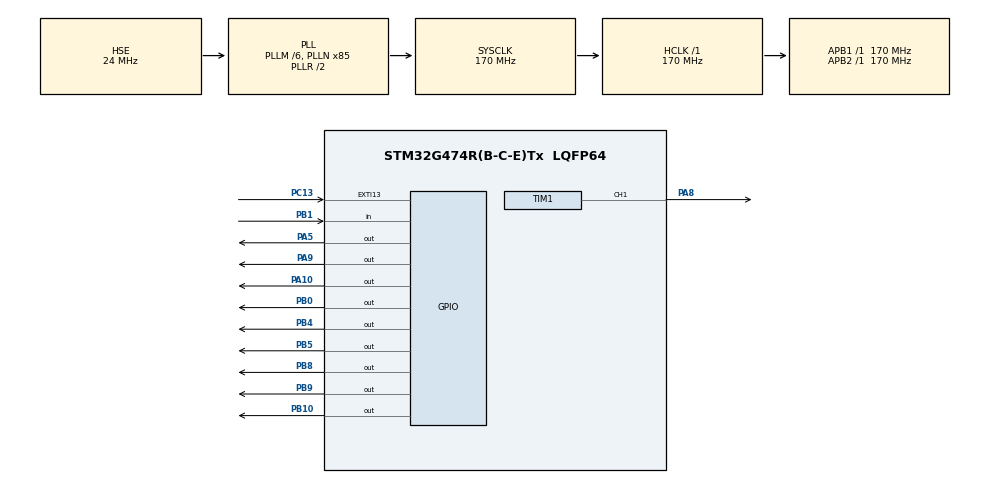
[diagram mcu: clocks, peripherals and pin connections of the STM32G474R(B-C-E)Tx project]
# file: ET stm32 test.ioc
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Mcu.Family=STM32G4
Mcu.Name=STM32G474R(B-C-E)Tx
Mcu.Package=LQFP64
NUCLEO-G474RE.BUTTON=1
NUCLEO-G474RE.LD2=true
NUCLEO-G474RE.VCP=true
NVIC.EXTI15_10_IRQn=true\:0\:0\:false\:false\:true\:true\:true\:true
NVIC.PriorityGroup=NVIC_PRIORITYGROUP_4
PA10.GPIO_ModeDefaultOutputPP=GPIO_MODE_OUTPUT_PP
PA10.GPIO_PuPd=GPIO_NOPULL
PA10.Signal=GPIO_Output
PA13.GPIO_Label=T_SWDIO
PA13.Signal=SYS_JTMS-SWDIO
PA14.GPIO_Label=T_SWCLK
PA14.Signal=SYS_JTCK-SWCLK
PA2.Signal=LPUART1_TX
PA3.Signal=LPUART1_RX
PA5.Signal=GPIO_Output
PA8.Signal=S_TIM1_CH1
PA9.Signal=GPIO_Output
PB0.Signal=GPIO_Output
PB1.Signal=GPIO_Input
PB10.Signal=GPIO_Output
PB3.GPIO_Label=T_SWO
PB3.Signal=SYS_JTDO-SWO
PB4.GPIO_ModeDefaultOutputPP=GPIO_MODE_OUTPUT_PP
PB4.Signal=GPIO_Output
PB5.Signal=GPIO_Output
PB8-BOOT0.Signal=GPIO_Output
PB9.Signal=GPIO_Output
PC13.Signal=GPXTI13
PC14-OSC32_IN.GPIO_Label=RCC_OSC32_IN
PC14-OSC32_IN.Signal=RCC_OSC32_IN
PC15-OSC32_OUT.GPIO_Label=RCC_OSC32_OUT
PC15-OSC32_OUT.Signal=RCC_OSC32_OUT
PF0-OSC_IN.GPIO_Label=RCC_OSC_IN
PF0-OSC_IN.Mode=HSE-External-Oscillator
PF0-OSC_IN.Signal=RCC_OSC_IN
PF1-OSC_OUT.GPIO_Label=RCC_OSC_OUT
PF1-OSC_OUT.Mode=HSE-External-Oscillator
PF1-OSC_OUT.Signal=RCC_OSC_OUT
ProjectManager.HeapSize=0x200
ProjectManager.StackSize=0x400
ProjectManager.TargetToolchain=STM32CubeIDE
RCC.ADC12Freq_Value=170000000
RCC.ADC345Freq_Value=170000000
RCC.AHBFreq_Value=170000000
RCC.APB1Freq_Value=170000000
RCC.APB1TimFreq_Value=170000000
RCC.APB2Freq_Value=170000000
RCC.APB2TimFreq_Value=170000000
RCC.CortexFreq_Value=170000000
RCC.EXTERNAL_CLOCK_VALUE=12288000
RCC.HCLKFreq_Value=170000000
RCC.HSE_VALUE=24000000
RCC.HSI48_VALUE=48000000
RCC.HSI_VALUE=16000000
RCC.LSE_VALUE=32768
RCC.PLLM=RCC_PLLM_DIV6
RCC.PLLN=85
RCC.PLLSourceVirtual=RCC_PLLSOURCE_HSE
RCC.RTCClockSelection=RCC_RTCCLKSOURCE_LSE
RCC.SYSCLKFreq_VALUE=170000000
RCC.SYSCLKSource=RCC_SYSCLKSOURCE_PLLCLK
RCC.USBFreq_Value=170000000
RCC.VCOOutputFreq_Value=340000000
SH.S_TIM1_CH1.0=TIM1_CH1,PWM Generation1 CH1
TIM1.AutoReloadPreload=TIM_AUTORELOAD_PRELOAD_ENABLE
TIM1.Channel-PWM\ Generation1\ CH1=TIM_CHANNEL_1
TIM1.PeriodNoDither=100
TIM1.Prescaler=2
TIM1.PulseNoDither_1=50
VP_NUCLEO-G474RE_VS_BSP_COMMON.Mode=COMMON
VP_SYS_VS_DBSignals.Mode=DisableDeadBatterySignals
VP_TIM1_VS_ClockSourceINT.Mode=Internal
board=NUCLEO-G474RE

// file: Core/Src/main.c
/* USER CODE BEGIN Header */
/**
  ******************************************************************************
  * @file           : main.c
  * @brief          : Main program body
  ******************************************************************************
  * @attention
  *
  * Copyright (c) 2025 STMicroelectronics.
  * All rights reserved.
  *
  * This software is licensed under terms that can be found in the LICENSE file
  * in the root directory of this software component.
  * If no LICENSE file comes with this software, it is provided AS-IS.
  *
  ******************************************************************************
  */
/* USER CODE END Header */
#include "main.h"

COM_InitTypeDef BspCOMInit;
TIM_HandleTypeDef htim1;

void SystemClock_Config(void);
static void MX_GPIO_Init(void);
static void MX_TIM1_Init(void);

/* USER CODE BEGIN 0 */
/**
  * @brief  Configure CAN filter
  * @param  None
  * @retval None
  */

#define SIG_GPIO_Port	GPIOB
#define SIG_Pin			GPIO_PIN_1
#define MUX0_GPIO_Port	GPIOB
#define MUX0_Pin		GPIO_PIN_10
#define MUX1_GPIO_Port	GPIOB
#define MUX1_Pin		GPIO_PIN_4
#define MUX2_GPIO_Port	GPIOA
#define MUX2_Pin		GPIO_PIN_4
#define MUX3_GPIO_Port	GPIOA
#define MUX3_Pin		GPIO_PIN_10
#define DRST_GPIO_Port	GPIOB
#define DRST_Pin		GPIO_PIN_0

void SetMuxChannel(uint8_t channel) {
  HAL_GPIO_WritePin(MUX0_GPIO_Port, MUX0_Pin, (channel & 0x01) ? GPIO_PIN_SET : GPIO_PIN_RESET);
  HAL_GPIO_WritePin(MUX1_GPIO_Port, MUX1_Pin, (channel & 0x02) ? GPIO_PIN_SET : GPIO_PIN_RESET);
  HAL_GPIO_WritePin(MUX2_GPIO_Port, MUX2_Pin, (channel & 0x04) ? GPIO_PIN_SET : GPIO_PIN_RESET);
  HAL_GPIO_WritePin(MUX3_GPIO_Port, MUX3_Pin, (channel & 0x08) ? GPIO_PIN_SET : GPIO_PIN_RESET);
}
/* USER CODE END 0 */

int main(void)
{

  /* MCU Configuration--------------------------------------------------------*/

  /* Reset of all peripherals, Initializes the Flash interface and the Systick. */
  HAL_Init();

  /* Configure the system clock */
  SystemClock_Config();

  /* Initialize all configured peripherals */
  MX_GPIO_Init();
  MX_TIM1_Init();
  /* USER CODE BEGIN 2 */
  HAL_TIM_PWM_Start(&htim1, TIM_CHANNEL_1);
  HAL_GPIO_WritePin(DRST_GPIO_Port, DRST_Pin, GPIO_PIN_RESET);
  /* USER CODE END 2 */

  /* Initialize led */
  BSP_LED_Init(LED_GREEN);

  /* Initialize USER push-button, will be used to trigger an interrupt each time it's pressed.*/
  BSP_PB_Init(BUTTON_USER, BUTTON_MODE_EXTI);

  /* Initialize COM1 port (115200, 8 bits (7-bit data + 1 stop bit), no parity */
  BspCOMInit.BaudRate   = 115200;
  BspCOMInit.WordLength = COM_WORDLENGTH_8B;
  BspCOMInit.StopBits   = COM_STOPBITS_1;
  BspCOMInit.Parity     = COM_PARITY_NONE;
  BspCOMInit.HwFlowCtl  = COM_HWCONTROL_NONE;
  if (BSP_COM_Init(COM1, &BspCOMInit) != BSP_ERROR_NONE)
  {
    Error_Handler();
  }

  /* Infinite loop */
  while (1)
  {

    /* USER CODE BEGIN 3 */
	SetMuxChannel(6);

	GPIO_PinState data = HAL_GPIO_ReadPin(SIG_GPIO_Port, SIG_Pin);

	if (data == GPIO_PIN_SET){

		HAL_GPIO_WritePin(GPIOA, GPIO_PIN_9, GPIO_PIN_SET);
		HAL_GPIO_WritePin(GPIOB, GPIO_PIN_9, GPIO_PIN_SET);
		HAL_GPIO_WritePin(GPIOB, GPIO_PIN_8, GPIO_PIN_SET);
		HAL_Delay(2500);
		HAL_GPIO_WritePin(DRST_GPIO_Port, DRST_Pin, GPIO_PIN_SET);
		HAL_Delay(2500);
		HAL_GPIO_WritePin(GPIOA, GPIO_PIN_9, GPIO_PIN_RESET);
		HAL_GPIO_WritePin(GPIOB, GPIO_PIN_9, GPIO_PIN_RESET);
		HAL_GPIO_WritePin(GPIOB, GPIO_PIN_8, GPIO_PIN_RESET);
		HAL_GPIO_WritePin(DRST_GPIO_Port, DRST_Pin, GPIO_PIN_RESET);
	}
  }
  /* USER CODE END 3 */
}

void SystemClock_Config(void)
{
  RCC_OscInitTypeDef RCC_OscInitStruct = {0};
  RCC_ClkInitTypeDef RCC_ClkInitStruct = {0};

  /** Configure the main internal regulator output voltage
  */
  HAL_PWREx_ControlVoltageScaling(PWR_REGULATOR_VOLTAGE_SCALE1_BOOST);

  /** Initializes the RCC Oscillators according to the specified parameters
  * in the RCC_OscInitTypeDef structure.
  */
  RCC_OscInitStruct.OscillatorType = RCC_OSCILLATORTYPE_HSE;
  RCC_OscInitStruct.HSEState = RCC_HSE_ON;
  RCC_OscInitStruct.PLL.PLLState = RCC_PLL_ON;
  RCC_OscInitStruct.PLL.PLLSource = RCC_PLLSOURCE_HSE;
  RCC_OscInitStruct.PLL.PLLM = RCC_PLLM_DIV6;
  RCC_OscInitStruct.PLL.PLLN = 85;
  RCC_OscInitStruct.PLL.PLLP = RCC_PLLP_DIV2;
  RCC_OscInitStruct.PLL.PLLQ = RCC_PLLQ_DIV2;
  RCC_OscInitStruct.PLL.PLLR = RCC_PLLR_DIV2;
  if (HAL_RCC_OscConfig(&RCC_OscInitStruct) != HAL_OK)
  {
    Error_Handler();
  }

  /** Initializes the CPU, AHB and APB buses clocks
  */
  RCC_ClkInitStruct.ClockType = RCC_CLOCKTYPE_HCLK|RCC_CLOCKTYPE_SYSCLK
                              |RCC_CLOCKTYPE_PCLK1|RCC_CLOCKTYPE_PCLK2;
  RCC_ClkInitStruct.SYSCLKSource = RCC_SYSCLKSOURCE_PLLCLK;
  RCC_ClkInitStruct.AHBCLKDivider = RCC_SYSCLK_DIV1;
  RCC_ClkInitStruct.APB1CLKDivider = RCC_HCLK_DIV1;
  RCC_ClkInitStruct.APB2CLKDivider = RCC_HCLK_DIV1;

  if (HAL_RCC_ClockConfig(&RCC_ClkInitStruct, FLASH_LATENCY_4) != HAL_OK)
  {
    Error_Handler();
  }
}

static void MX_TIM1_Init(void)
{

  TIM_ClockConfigTypeDef sClockSourceConfig = {0};
  TIM_MasterConfigTypeDef sMasterConfig = {0};
  TIM_OC_InitTypeDef sConfigOC = {0};
  TIM_BreakDeadTimeConfigTypeDef sBreakDeadTimeConfig = {0};

  htim1.Instance = TIM1;
  htim1.Init.Prescaler = 2;
  htim1.Init.CounterMode = TIM_COUNTERMODE_UP;
  htim1.Init.Period = 100;
  htim1.Init.ClockDivision = TIM_CLOCKDIVISION_DIV1;
  htim1.Init.RepetitionCounter = 0;
  htim1.Init.AutoReloadPreload = TIM_AUTORELOAD_PRELOAD_ENABLE;
  if (HAL_TIM_Base_Init(&htim1) != HAL_OK)
  {
    Error_Handler();
  }
  sClockSourceConfig.ClockSource = TIM_CLOCKSOURCE_INTERNAL;
  if (HAL_TIM_ConfigClockSource(&htim1, &sClockSourceConfig) != HAL_OK)
  {
    Error_Handler();
  }
  if (HAL_TIM_PWM_Init(&htim1) != HAL_OK)
  {
    Error_Handler();
  }
  sMasterConfig.MasterOutputTrigger = TIM_TRGO_RESET;
  sMasterConfig.MasterOutputTrigger2 = TIM_TRGO2_RESET;
  sMasterConfig.MasterSlaveMode = TIM_MASTERSLAVEMODE_DISABLE;
  if (HAL_TIMEx_MasterConfigSynchronization(&htim1, &sMasterConfig) != HAL_OK)
  {
    Error_Handler();
  }
  sConfigOC.OCMode = TIM_OCMODE_PWM1;
  sConfigOC.Pulse = 50;
  sConfigOC.OCPolarity = TIM_OCPOLARITY_HIGH;
  sConfigOC.OCNPolarity = TIM_OCNPOLARITY_HIGH;
  sConfigOC.OCFastMode = TIM_OCFAST_DISABLE;
  sConfigOC.OCIdleState = TIM_OCIDLESTATE_RESET;
  sConfigOC.OCNIdleState = TIM_OCNIDLESTATE_RESET;
  if (HAL_TIM_PWM_ConfigChannel(&htim1, &sConfigOC, TIM_CHANNEL_1) != HAL_OK)
  {
    Error_Handler();
  }
  sBreakDeadTimeConfig.OffStateRunMode = TIM_OSSR_DISABLE;
  sBreakDeadTimeConfig.OffStateIDLEMode = TIM_OSSI_DISABLE;
  sBreakDeadTimeConfig.LockLevel = TIM_LOCKLEVEL_OFF;
  sBreakDeadTimeConfig.DeadTime = 0;
  sBreakDeadTimeConfig.BreakState = TIM_BREAK_DISABLE;
  sBreakDeadTimeConfig.BreakPolarity = TIM_BREAKPOLARITY_HIGH;
  sBreakDeadTimeConfig.BreakFilter = 0;
  sBreakDeadTimeConfig.BreakAFMode = TIM_BREAK_AFMODE_INPUT;
  sBreakDeadTimeConfig.Break2State = TIM_BREAK2_DISABLE;
  sBreakDeadTimeConfig.Break2Polarity = TIM_BREAK2POLARITY_HIGH;
  sBreakDeadTimeConfig.Break2Filter = 0;
  sBreakDeadTimeConfig.Break2AFMode = TIM_BREAK_AFMODE_INPUT;
  sBreakDeadTimeConfig.AutomaticOutput = TIM_AUTOMATICOUTPUT_DISABLE;
  if (HAL_TIMEx_ConfigBreakDeadTime(&htim1, &sBreakDeadTimeConfig) != HAL_OK)
  {
    Error_Handler();
  }
  HAL_TIM_MspPostInit(&htim1);

}

static void MX_GPIO_Init(void)
{
  GPIO_InitTypeDef GPIO_InitStruct = {0};

  /* GPIO Ports Clock Enable */
  __HAL_RCC_GPIOC_CLK_ENABLE();
  __HAL_RCC_GPIOF_CLK_ENABLE();
  __HAL_RCC_GPIOB_CLK_ENABLE();
  __HAL_RCC_GPIOA_CLK_ENABLE();

  /*Configure GPIO pin Output Level */
  HAL_GPIO_WritePin(GPIOB, GPIO_PIN_0|GPIO_PIN_10|GPIO_PIN_4|GPIO_PIN_5
                          |GPIO_PIN_8|GPIO_PIN_9, GPIO_PIN_RESET);

  /*Configure GPIO pin Output Level */
  HAL_GPIO_WritePin(GPIOA, GPIO_PIN_9|GPIO_PIN_10, GPIO_PIN_RESET);

  /*Configure GPIO pins : PB0 PB10 PB4 PB5
                           PB8 PB9 */
  GPIO_InitStruct.Pin = GPIO_PIN_0|GPIO_PIN_10|GPIO_PIN_4|GPIO_PIN_5
                          |GPIO_PIN_8|GPIO_PIN_9;
  GPIO_InitStruct.Mode = GPIO_MODE_OUTPUT_PP;
  GPIO_InitStruct.Pull = GPIO_NOPULL;
  GPIO_InitStruct.Speed = GPIO_SPEED_FREQ_LOW;
  HAL_GPIO_Init(GPIOB, &GPIO_InitStruct);

  /*Configure GPIO pin : PB1 */
  GPIO_InitStruct.Pin = GPIO_PIN_1;
  GPIO_InitStruct.Mode = GPIO_MODE_INPUT;
  GPIO_InitStruct.Pull = GPIO_NOPULL;
  HAL_GPIO_Init(GPIOB, &GPIO_InitStruct);

  /*Configure GPIO pins : PA9 PA10 */
  GPIO_InitStruct.Pin = GPIO_PIN_9|GPIO_PIN_10;
  GPIO_InitStruct.Mode = GPIO_MODE_OUTPUT_PP;
  GPIO_InitStruct.Pull = GPIO_NOPULL;
  GPIO_InitStruct.Speed = GPIO_SPEED_FREQ_LOW;
  HAL_GPIO_Init(GPIOA, &GPIO_InitStruct);

}

void Error_Handler(void)
{
  __disable_irq();
  while (1)
  {
  }
}
